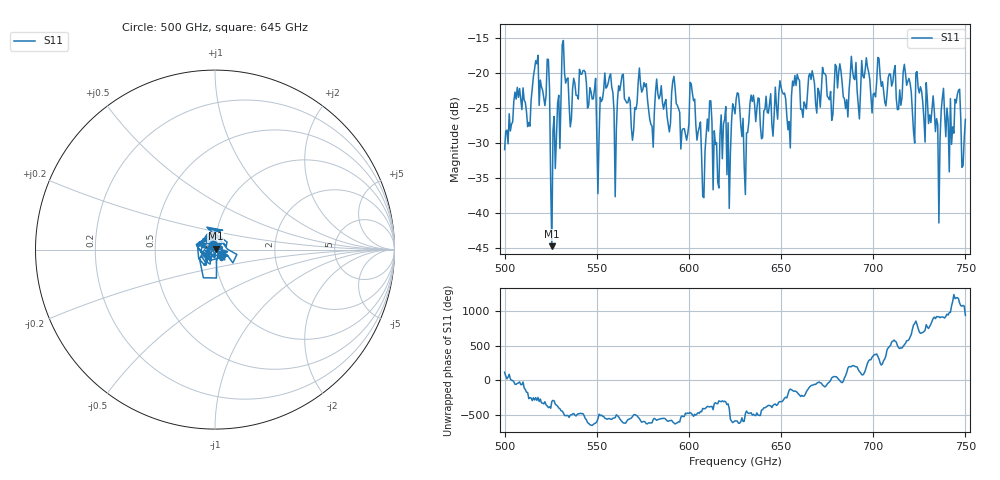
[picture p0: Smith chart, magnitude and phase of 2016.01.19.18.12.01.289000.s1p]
!Created with skrf (http://scikit-rf.org).
# GHz S RI R 50.0
!freq ReS11 ImS11
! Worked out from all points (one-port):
!   401 points, 500 GHz to 750 GHz, reference 50 ohm
!   lowest |S11| = -44.8 dB at 525.6 GHz (marker M1), VSWR 1.01, Z = 50.3 + j0.466 ohm
!   |S11| at or under -10 dB: start of sweep to end of sweep
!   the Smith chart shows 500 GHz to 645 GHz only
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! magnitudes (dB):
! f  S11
! 500 GHz  -31.0
! 506.9 GHz  -22.1
! 513.1 GHz  -27.1
! 516.9 GHz  -18.3
! 523.1 GHz  -18.1
! 525.6 GHz  -44.8
! 531.2 GHz  -16.0
! 542.5 GHz  -19.7
! 551.2 GHz  -29.2
! 555.6 GHz  -22.0
! 560 GHz  -37.7
! 562.5 GHz  -22.6
! 570 GHz  -28.3
! 593.8 GHz  -24.7
! 598.1 GHz  -28.8
! 601.9 GHz  -22.9
! 608.1 GHz  -37.9
! 611.2 GHz  -24.0
! 621.9 GHz  -39.4
! 625 GHz  -25.9
! 631.2 GHz  -28.6
! 634.4 GHz  -24.1
! 656.2 GHz  -21.2
! 687.5 GHz  -20.5
! 718.8 GHz  -21.2
! 735 GHz  -27.4
! 745.6 GHz  -23.1
! 750 GHz  -26.7
